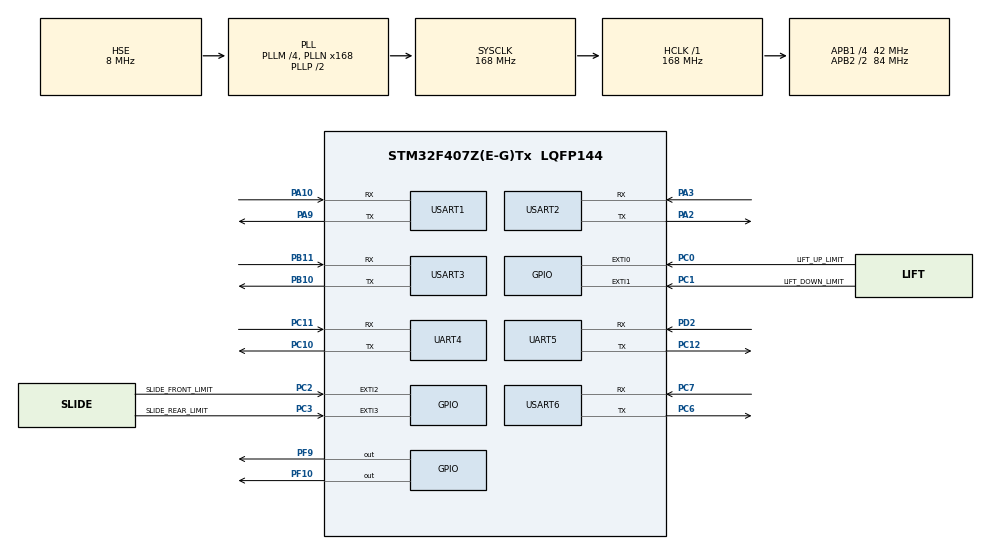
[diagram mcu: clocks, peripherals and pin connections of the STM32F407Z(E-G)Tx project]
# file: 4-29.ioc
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Dma.Request0=USART2_RX
Dma.Request1=USART3_RX
Dma.Request2=USART6_RX
Dma.Request3=USART3_TX
Dma.Request4=USART6_TX
Dma.Request5=USART1_RX
Dma.USART1_RX.5.Direction=DMA_PERIPH_TO_MEMORY
Dma.USART1_RX.5.FIFOMode=DMA_FIFOMODE_DISABLE
Dma.USART1_RX.5.Instance=DMA2_Stream2
Dma.USART1_RX.5.MemDataAlignment=DMA_MDATAALIGN_BYTE
Dma.USART1_RX.5.MemInc=DMA_MINC_ENABLE
Dma.USART1_RX.5.Mode=DMA_CIRCULAR
Dma.USART1_RX.5.PeriphDataAlignment=DMA_PDATAALIGN_BYTE
Dma.USART1_RX.5.PeriphInc=DMA_PINC_DISABLE
Dma.USART1_RX.5.Priority=DMA_PRIORITY_HIGH
Dma.USART2_RX.0.Direction=DMA_PERIPH_TO_MEMORY
Dma.USART2_RX.0.FIFOMode=DMA_FIFOMODE_DISABLE
Dma.USART2_RX.0.Instance=DMA1_Stream5
Dma.USART2_RX.0.MemDataAlignment=DMA_MDATAALIGN_BYTE
Dma.USART2_RX.0.MemInc=DMA_MINC_ENABLE
Dma.USART2_RX.0.Mode=DMA_CIRCULAR
Dma.USART2_RX.0.PeriphDataAlignment=DMA_PDATAALIGN_BYTE
Dma.USART2_RX.0.PeriphInc=DMA_PINC_DISABLE
Dma.USART2_RX.0.Priority=DMA_PRIORITY_MEDIUM
Dma.USART3_RX.1.Direction=DMA_PERIPH_TO_MEMORY
Dma.USART3_RX.1.FIFOMode=DMA_FIFOMODE_DISABLE
Dma.USART3_RX.1.Instance=DMA1_Stream1
Dma.USART3_RX.1.MemDataAlignment=DMA_MDATAALIGN_BYTE
Dma.USART3_RX.1.MemInc=DMA_MINC_ENABLE
Dma.USART3_RX.1.Mode=DMA_CIRCULAR
Dma.USART3_RX.1.PeriphDataAlignment=DMA_PDATAALIGN_BYTE
Dma.USART3_RX.1.PeriphInc=DMA_PINC_DISABLE
Dma.USART3_RX.1.Priority=DMA_PRIORITY_HIGH
Dma.USART3_TX.3.Direction=DMA_MEMORY_TO_PERIPH
Dma.USART3_TX.3.FIFOMode=DMA_FIFOMODE_DISABLE
Dma.USART3_TX.3.Instance=DMA1_Stream3
Dma.USART3_TX.3.MemDataAlignment=DMA_MDATAALIGN_BYTE
Dma.USART3_TX.3.MemInc=DMA_MINC_ENABLE
Dma.USART3_TX.3.Mode=DMA_NORMAL
Dma.USART3_TX.3.PeriphDataAlignment=DMA_PDATAALIGN_BYTE
Dma.USART3_TX.3.PeriphInc=DMA_PINC_DISABLE
Dma.USART3_TX.3.Priority=DMA_PRIORITY_HIGH
Dma.USART6_RX.2.Direction=DMA_PERIPH_TO_MEMORY
Dma.USART6_RX.2.FIFOMode=DMA_FIFOMODE_DISABLE
Dma.USART6_RX.2.Instance=DMA2_Stream1
Dma.USART6_RX.2.MemDataAlignment=DMA_MDATAALIGN_BYTE
Dma.USART6_RX.2.MemInc=DMA_MINC_ENABLE
Dma.USART6_RX.2.Mode=DMA_CIRCULAR
Dma.USART6_RX.2.PeriphDataAlignment=DMA_PDATAALIGN_BYTE
Dma.USART6_RX.2.PeriphInc=DMA_PINC_DISABLE
Dma.USART6_RX.2.Priority=DMA_PRIORITY_MEDIUM
Dma.USART6_TX.4.Direction=DMA_MEMORY_TO_PERIPH
Dma.USART6_TX.4.FIFOMode=DMA_FIFOMODE_DISABLE
Dma.USART6_TX.4.Instance=DMA2_Stream6
Dma.USART6_TX.4.MemDataAlignment=DMA_MDATAALIGN_BYTE
Dma.USART6_TX.4.MemInc=DMA_MINC_ENABLE
Dma.USART6_TX.4.Mode=DMA_NORMAL
Dma.USART6_TX.4.PeriphDataAlignment=DMA_PDATAALIGN_BYTE
Dma.USART6_TX.4.PeriphInc=DMA_PINC_DISABLE
Dma.USART6_TX.4.Priority=DMA_PRIORITY_MEDIUM
Mcu.Family=STM32F4
Mcu.Name=STM32F407Z(E-G)Tx
Mcu.Package=LQFP144
NVIC.DMA1_Stream1_IRQn=true\:1\:0\:true\:false\:true\:false\:true\:true
NVIC.DMA1_Stream3_IRQn=true\:1\:0\:true\:false\:true\:false\:true\:true
NVIC.DMA1_Stream5_IRQn=true\:3\:0\:true\:false\:true\:false\:true\:true
NVIC.DMA2_Stream1_IRQn=true\:4\:0\:true\:false\:true\:false\:true\:true
NVIC.DMA2_Stream2_IRQn=true\:5\:0\:true\:false\:true\:false\:true\:true
NVIC.DMA2_Stream6_IRQn=true\:4\:0\:true\:false\:true\:false\:true\:true
NVIC.EXTI0_IRQn=true\:2\:0\:true\:false\:true\:true\:true\:true
NVIC.EXTI1_IRQn=true\:2\:0\:true\:false\:true\:true\:true\:true
NVIC.EXTI2_IRQn=true\:2\:0\:true\:false\:true\:true\:true\:true
NVIC.EXTI3_IRQn=true\:2\:0\:true\:false\:true\:true\:true\:true
NVIC.PriorityGroup=NVIC_PRIORITYGROUP_4
NVIC.TIM6_DAC_IRQn=true\:2\:0\:true\:false\:true\:true\:true\:true
NVIC.UART4_IRQn=true\:5\:0\:true\:false\:true\:true\:true\:true
NVIC.UART5_IRQn=true\:3\:0\:true\:false\:true\:true\:true\:true
NVIC.USART1_IRQn=true\:5\:0\:true\:false\:true\:true\:true\:true
NVIC.USART2_IRQn=true\:3\:0\:true\:false\:true\:true\:true\:true
NVIC.USART3_IRQn=true\:1\:0\:true\:false\:true\:true\:true\:true
NVIC.USART6_IRQn=true\:4\:0\:true\:false\:true\:true\:true\:true
PA10.GPIO_PuPd=GPIO_PULLUP
PA10.Mode=Asynchronous
PA10.Signal=USART1_RX
PA13.Mode=Serial_Wire
PA13.Signal=SYS_JTMS-SWDIO
PA14.Mode=Serial_Wire
PA14.Signal=SYS_JTCK-SWCLK
PA2.Mode=Asynchronous
PA2.Signal=USART2_TX
PA3.Mode=Asynchronous
PA3.Signal=USART2_RX
PA9.GPIO_PuPd=GPIO_PULLUP
PA9.Mode=Asynchronous
PA9.Signal=USART1_TX
PB10.Mode=Asynchronous
PB10.Signal=USART3_TX
PB11.Mode=Asynchronous
PB11.Signal=USART3_RX
PC0.GPIO_Label=LIFT_UP_LIMIT
PC0.Signal=GPXTI0
PC1.GPIO_Label=LIFT_DOWN_LIMIT
PC1.Signal=GPXTI1
PC10.Mode=Asynchronous
PC10.Signal=UART4_TX
PC11.Mode=Asynchronous
PC11.Signal=UART4_RX
PC12.Mode=Asynchronous
PC12.Signal=UART5_TX
PC2.GPIO_Label=SLIDE_FRONT_LIMIT
PC2.Signal=GPXTI2
PC3.GPIO_Label=SLIDE_REAR_LIMIT
PC3.Signal=GPXTI3
PC6.GPIO_PuPd=GPIO_PULLUP
PC6.Mode=Asynchronous
PC6.Signal=USART6_TX
PC7.GPIO_PuPd=GPIO_PULLUP
PC7.Mode=Asynchronous
PC7.Signal=USART6_RX
PD2.Mode=Asynchronous
PD2.Signal=UART5_RX
PF10.Signal=GPIO_Output
PF9.Signal=GPIO_Output
PH0-OSC_IN.Mode=HSE-External-Oscillator
PH0-OSC_IN.Signal=RCC_OSC_IN
PH1-OSC_OUT.Mode=HSE-External-Oscillator
PH1-OSC_OUT.Signal=RCC_OSC_OUT
ProjectManager.HeapSize=0x200
ProjectManager.StackSize=0x400
ProjectManager.TargetToolchain=MDK-ARM V5.32
RCC.48MHZClocksFreq_Value=84000000
RCC.AHBFreq_Value=168000000
RCC.APB1CLKDivider=RCC_HCLK_DIV4
RCC.APB1Freq_Value=42000000
RCC.APB1TimFreq_Value=84000000
RCC.APB2CLKDivider=RCC_HCLK_DIV2
RCC.APB2Freq_Value=84000000
RCC.APB2TimFreq_Value=168000000
RCC.CortexFreq_Value=168000000
RCC.HCLKFreq_Value=168000000
RCC.HSE_VALUE=8000000
RCC.HSI_VALUE=16000000
RCC.LSE_VALUE=32768
RCC.PLLM=4
RCC.PLLN=168
RCC.PLLSourceVirtual=RCC_PLLSOURCE_HSE
RCC.SYSCLKFreq_VALUE=168000000
RCC.SYSCLKSource=RCC_SYSCLKSOURCE_PLLCLK
RCC.VCOOutputFreq_Value=336000000
TIM6.Period=9
TIM6.Prescaler=8399
UART4.VirtualMode=Asynchronous
UART5.VirtualMode=Asynchronous
USART1.VirtualMode=VM_ASYNC
USART2.VirtualMode=VM_ASYNC
USART3.VirtualMode=VM_ASYNC
USART6.VirtualMode=VM_ASYNC
VP_TIM6_VS_ClockSourceINT.Mode=Enable_Timer
board=custom

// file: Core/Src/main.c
/* USER CODE BEGIN Header */
/**
 ******************************************************************************
 * @file           : main.c
 * @brief          : Main program body
 ******************************************************************************
 * @attention
 *
 * Copyright (c) 2026 STMicroelectronics.
 * All rights reserved.
 *
 * This software is licensed under terms that can be found in the LICENSE file
 * in the root directory of this software component.
 * If no LICENSE file comes with this software, it is provided AS-IS.
 *
 ******************************************************************************
 */
/* USER CODE END Header */
#include "main.h"

/* USER CODE BEGIN Includes */
#include <stdio.h>
#include "drive_bus_servo.h"
#include "sensor_ops.h"
#include "sensor_wit.h"
#include "drive_emm.h"
#include "advance_chassis.h"
#include "advance_motion.h"
#include "advance_world.h"
#include "advance_arm.h"
#include "comm_host.h"
#include "comm_protocol.h"
#include "car_pose.h"

/* USER CODE END Includes */

/* USER CODE BEGIN PD */
/* 发布固件保持 0，避免 printf 的逐字节阻塞影响控制周期。 */
#define DEBUG_UART_ENABLE (1U)

/* TIM6 提供 1 ms 调度节拍，所有业务周期统一在这里配置。 */
#define APP_SCHEDULER_TICK_MS ((uint32_t)1U)
#define APP_PROTOCOL_PERIOD_MS ((uint32_t)2U)
#define APP_WORLD_PERIOD_MS ((uint32_t)10U)
#define APP_MOTION_PERIOD_MS ADVANCE_MOTION_CONTROL_PERIOD_MS
#define APP_MOTOR_PERIOD_MS ((uint32_t)20U)
#define APP_ORIGIN_PERIOD_MS ((uint32_t)1000U)
#define APP_LED_PERIOD_MS ((uint32_t)500U)

/* TIM6 仅置位这些任务，不在中断上下文执行业务逻辑。 */
#define APP_TASK_PROTOCOL ((uint32_t)0x00000001U)
#define APP_TASK_WORLD ((uint32_t)0x00000002U)
#define APP_TASK_MOTION ((uint32_t)0x00000008U)
#define APP_TASK_MOTOR ((uint32_t)0x00000010U)
#define APP_TASK_ORIGIN ((uint32_t)0x00000020U)
#define APP_TASK_LED ((uint32_t)0x00000040U)

/* USER CODE END PD */

TIM_HandleTypeDef htim6;

UART_HandleTypeDef huart4;
UART_HandleTypeDef huart5;
UART_HandleTypeDef huart1;
UART_HandleTypeDef huart2;
UART_HandleTypeDef huart3;
UART_HandleTypeDef huart6;
DMA_HandleTypeDef hdma_usart1_rx;
DMA_HandleTypeDef hdma_usart2_rx;
DMA_HandleTypeDef hdma_usart3_rx;
DMA_HandleTypeDef hdma_usart3_tx;
DMA_HandleTypeDef hdma_usart6_rx;
DMA_HandleTypeDef hdma_usart6_tx;

/* USER CODE BEGIN PV */
static volatile uint32_t g_app_pending_tasks = 0U;
/* USER CODE END PV */

void SystemClock_Config(void);
static void MX_GPIO_Init(void);
static void MX_DMA_Init(void);
static void MX_UART4_Init(void);
static void MX_UART5_Init(void);
static void MX_USART1_UART_Init(void);
static void MX_USART2_UART_Init(void);
static void MX_USART3_UART_Init(void);
static void MX_USART6_UART_Init(void);
static void MX_TIM6_Init(void);

/* USER CODE BEGIN 0 */
int fputc(int ch, FILE *f)
{
  (void)f;
#if (DEBUG_UART_ENABLE != 0U)
  uint8_t byte = (uint8_t)ch;
  (void)HAL_UART_Transmit(&huart1, &byte, 1, 20U);
#else
  (void)ch;
#endif
  return ch;
}

static void App_ToggleLed(void)
{
  HAL_GPIO_TogglePin(GPIOF, GPIO_PIN_9 | GPIO_PIN_10);
}

static uint32_t App_TakePendingTasks(void)
{
  uint32_t pending;

  __disable_irq();
  pending = g_app_pending_tasks;
  g_app_pending_tasks = 0U;
  __enable_irq();
  return pending;
}

static void App_TryResetWorldOrigin(void)
{
  WorldPose2D_t pose = {0};

  (void)AdvanceWorld_GetPoseCopy(&pose);
  if (pose.origin_ready == 0U)
  {
    (void)AdvanceWorld_ResetOrigin();
  }
}

static void App_RunScheduledTasks(uint32_t pending)
{
  if ((pending & APP_TASK_PROTOCOL) != 0U)
  {
    HostComm_Poll();
  }

  if ((pending & APP_TASK_WORLD) != 0U)
  {
    OPS_Poll();
    WIT_Poll();
    AdvanceWorld_Poll();
  }

  if ((pending & APP_TASK_MOTOR) != 0U)
  {
    drive_emm_Poll();
    BusServo_Poll();
  }

  if ((pending & APP_TASK_ORIGIN) != 0U)
  {
    App_TryResetWorldOrigin();
  }

  if ((pending & APP_TASK_MOTION) != 0U)
  {
    AdvanceMotion_Poll();
  }

  if ((pending & APP_TASK_LED) != 0U)
  {
    App_ToggleLed();
  }
}

/* USER CODE END 0 */

int main(void)
{

  /* MCU Configuration--------------------------------------------------------*/

  /* Reset of all peripherals, Initializes the Flash interface and the Systick. */
  HAL_Init();

  /* USER CODE BEGIN Init */
  // 提前初始化 GPIO，确认程序是否启动
  __HAL_RCC_GPIOA_CLK_ENABLE();
  __HAL_RCC_GPIOF_CLK_ENABLE();
  __HAL_RCC_GPIOC_CLK_ENABLE();
  GPIO_InitTypeDef GPIO_InitStructInit = {0};

  // 1. 针对你这款蓝色 M144Z-M4 板子，尝试常见的 PA0(LED)
  GPIO_InitStructInit.Pin = GPIO_PIN_0;
  GPIO_InitStructInit.Mode = GPIO_MODE_OUTPUT_PP;
  GPIO_InitStructInit.Pull = GPIO_NOPULL;
  GPIO_InitStructInit.Speed = GPIO_SPEED_FREQ_LOW;
  HAL_GPIO_Init(GPIOA, &GPIO_InitStructInit);

  // 2. 同时保留之前的 PF9/PF10 和 PC13
  GPIO_InitStructInit.Pin = GPIO_PIN_9 | GPIO_PIN_10;
  HAL_GPIO_Init(GPIOF, &GPIO_InitStructInit);

  GPIO_InitStructInit.Pin = GPIO_PIN_13;
  HAL_GPIO_Init(GPIOC, &GPIO_InitStructInit);

  // 全量闪烁测试
  for (int i = 0; i < 20; i++)
  {
    HAL_GPIO_TogglePin(GPIOA, GPIO_PIN_0);
    HAL_GPIO_TogglePin(GPIOF, GPIO_PIN_9 | GPIO_PIN_10);
    HAL_GPIO_TogglePin(GPIOC, GPIO_PIN_13);
    for(volatile int j=0; j<300000; j++); // 缩短延时，亮暗更明显
  }
  /* USER CODE END Init */

  /* Configure the system clock */
  SystemClock_Config();

  /* Initialize all configured peripherals */
  MX_GPIO_Init();
  MX_DMA_Init();
  MX_UART4_Init();
  MX_UART5_Init();
  MX_USART1_UART_Init();
  MX_USART2_UART_Init();
  MX_USART3_UART_Init();
  MX_USART6_UART_Init();
  MX_TIM6_Init();
  /* USER CODE BEGIN 2 */

  // 传感器初始化
  OPS_Init(&huart5);
  WIT_Init();

  /* 上层模块先绑定传感器数据视图，再初始化自身状态。 */
  CarPose_Init();
  AdvanceWorld_Init();
  AdvanceMotion_Init();
  if (drive_emm_Init() != HAL_OK)
  {
    Error_Handler();
  }
  drive_emm_ConfigureChassisFeedback(
      CHASSIS_MOTOR_LF_ID,
      CHASSIS_MOTOR_RF_ID,
      CHASSIS_MOTOR_LR_ID,
      CHASSIS_MOTOR_RR_ID);
  AdvanceArm_Init();

  // 外设初始化
  BusServo_Init(&huart4);

  // 通信初始化
  if (HostComm_InitChannel(HOST_SOURCE_PC, &huart1) != HOST_COMM_STATUS_OK)
  {
    printf("HostComm PC init failed\r\n");
  }

  if (HostComm_InitChannel(HOST_SOURCE_JETSON, &huart6) != HOST_COMM_STATUS_OK)
  {
    printf("HostComm Jetson init failed\r\n");
  }

  /* 原点建立由 1 s 调度任务重试，不阻塞等待 OPS 数据。 */
  if (HAL_TIM_Base_Start_IT(&htim6) != HAL_OK)
  {
    Error_Handler();
  }

  // 1. 初始化电机驱动底层 (开启 DMA 接收等)
  // 2. 启动后立即闪烁 3 次作为“板子活了”的信号
  for (int i = 0; i < 6; i++)
  {
    App_ToggleLed();
    HAL_Delay(100);
  }

  /* USER CODE END 2 */

  /* Infinite loop */
  while (1)
  {

    /* USER CODE BEGIN 3 */
    uint32_t pending = App_TakePendingTasks();
    if (pending == 0U)
    {
      __WFI();
    }
    else
    {
      App_RunScheduledTasks(pending);
    }
  }
  /* USER CODE END 3 */
}

void SystemClock_Config(void)
{
  RCC_OscInitTypeDef RCC_OscInitStruct = {0};
  RCC_ClkInitTypeDef RCC_ClkInitStruct = {0};

  /** Configure the main internal regulator output voltage
  */
  __HAL_RCC_PWR_CLK_ENABLE();
  __HAL_PWR_VOLTAGESCALING_CONFIG(PWR_REGULATOR_VOLTAGE_SCALE1);

  /** Initializes the RCC Oscillators according to the specified parameters
  * in the RCC_OscInitTypeDef structure.
  */
  RCC_OscInitStruct.OscillatorType = RCC_OSCILLATORTYPE_HSE;
  RCC_OscInitStruct.HSEState = RCC_HSE_ON;
  RCC_OscInitStruct.PLL.PLLState = RCC_PLL_ON;
  RCC_OscInitStruct.PLL.PLLSource = RCC_PLLSOURCE_HSE;
  RCC_OscInitStruct.PLL.PLLM = 4;
  RCC_OscInitStruct.PLL.PLLN = 168;
  RCC_OscInitStruct.PLL.PLLP = RCC_PLLP_DIV2;
  RCC_OscInitStruct.PLL.PLLQ = 4;
  if (HAL_RCC_OscConfig(&RCC_OscInitStruct) != HAL_OK)
  {
    Error_Handler();
  }

  /** Initializes the CPU, AHB and APB buses clocks
  */
  RCC_ClkInitStruct.ClockType = RCC_CLOCKTYPE_HCLK|RCC_CLOCKTYPE_SYSCLK
                              |RCC_CLOCKTYPE_PCLK1|RCC_CLOCKTYPE_PCLK2;
  RCC_ClkInitStruct.SYSCLKSource = RCC_SYSCLKSOURCE_PLLCLK;
  RCC_ClkInitStruct.AHBCLKDivider = RCC_SYSCLK_DIV1;
  RCC_ClkInitStruct.APB1CLKDivider = RCC_HCLK_DIV4;
  RCC_ClkInitStruct.APB2CLKDivider = RCC_HCLK_DIV2;

  if (HAL_RCC_ClockConfig(&RCC_ClkInitStruct, FLASH_LATENCY_5) != HAL_OK)
  {
    Error_Handler();
  }
}

static void MX_TIM6_Init(void)
{

  TIM_MasterConfigTypeDef sMasterConfig = {0};

  htim6.Instance = TIM6;
  htim6.Init.Prescaler = 8399;
  htim6.Init.CounterMode = TIM_COUNTERMODE_UP;
  htim6.Init.Period = 9;
  htim6.Init.AutoReloadPreload = TIM_AUTORELOAD_PRELOAD_DISABLE;
  if (HAL_TIM_Base_Init(&htim6) != HAL_OK)
  {
    Error_Handler();
  }
  sMasterConfig.MasterOutputTrigger = TIM_TRGO_RESET;
  sMasterConfig.MasterSlaveMode = TIM_MASTERSLAVEMODE_DISABLE;
  if (HAL_TIMEx_MasterConfigSynchronization(&htim6, &sMasterConfig) != HAL_OK)
  {
    Error_Handler();
  }

}

static void MX_UART4_Init(void)
{

  huart4.Instance = UART4;
  huart4.Init.BaudRate = 115200;
  huart4.Init.WordLength = UART_WORDLENGTH_8B;
  huart4.Init.StopBits = UART_STOPBITS_1;
  huart4.Init.Parity = UART_PARITY_NONE;
  huart4.Init.Mode = UART_MODE_TX_RX;
  huart4.Init.HwFlowCtl = UART_HWCONTROL_NONE;
  huart4.Init.OverSampling = UART_OVERSAMPLING_16;
  if (HAL_UART_Init(&huart4) != HAL_OK)
  {
    Error_Handler();
  }

}

static void MX_UART5_Init(void)
{

  huart5.Instance = UART5;
  huart5.Init.BaudRate = 115200;
  huart5.Init.WordLength = UART_WORDLENGTH_8B;
  huart5.Init.StopBits = UART_STOPBITS_1;
  huart5.Init.Parity = UART_PARITY_NONE;
  huart5.Init.Mode = UART_MODE_TX_RX;
  huart5.Init.HwFlowCtl = UART_HWCONTROL_NONE;
  huart5.Init.OverSampling = UART_OVERSAMPLING_16;
  if (HAL_UART_Init(&huart5) != HAL_OK)
  {
    Error_Handler();
  }

}

static void MX_USART1_UART_Init(void)
{

  huart1.Instance = USART1;
  huart1.Init.BaudRate = 115200;
  huart1.Init.WordLength = UART_WORDLENGTH_8B;
  huart1.Init.StopBits = UART_STOPBITS_1;
  huart1.Init.Parity = UART_PARITY_NONE;
  huart1.Init.Mode = UART_MODE_TX_RX;
  huart1.Init.HwFlowCtl = UART_HWCONTROL_NONE;
  huart1.Init.OverSampling = UART_OVERSAMPLING_16;
  if (HAL_UART_Init(&huart1) != HAL_OK)
  {
    Error_Handler();
  }

}

static void MX_USART2_UART_Init(void)
{

  huart2.Instance = USART2;
  huart2.Init.BaudRate = 115200;
  huart2.Init.WordLength = UART_WORDLENGTH_8B;
  huart2.Init.StopBits = UART_STOPBITS_1;
  huart2.Init.Parity = UART_PARITY_NONE;
  huart2.Init.Mode = UART_MODE_TX_RX;
  huart2.Init.HwFlowCtl = UART_HWCONTROL_NONE;
  huart2.Init.OverSampling = UART_OVERSAMPLING_16;
  if (HAL_UART_Init(&huart2) != HAL_OK)
  {
    Error_Handler();
  }

}

static void MX_USART3_UART_Init(void)
{

  huart3.Instance = USART3;
  huart3.Init.BaudRate = 115200;
  huart3.Init.WordLength = UART_WORDLENGTH_8B;
  huart3.Init.StopBits = UART_STOPBITS_1;
  huart3.Init.Parity = UART_PARITY_NONE;
  huart3.Init.Mode = UART_MODE_TX_RX;
  huart3.Init.HwFlowCtl = UART_HWCONTROL_NONE;
  huart3.Init.OverSampling = UART_OVERSAMPLING_16;
  if (HAL_UART_Init(&huart3) != HAL_OK)
  {
    Error_Handler();
  }

}

static void MX_USART6_UART_Init(void)
{

  huart6.Instance = USART6;
  huart6.Init.BaudRate = 115200;
  huart6.Init.WordLength = UART_WORDLENGTH_8B;
  huart6.Init.StopBits = UART_STOPBITS_1;
  huart6.Init.Parity = UART_PARITY_NONE;
  huart6.Init.Mode = UART_MODE_TX_RX;
  huart6.Init.HwFlowCtl = UART_HWCONTROL_NONE;
  huart6.Init.OverSampling = UART_OVERSAMPLING_16;
  if (HAL_UART_Init(&huart6) != HAL_OK)
  {
    Error_Handler();
  }

}

static void MX_DMA_Init(void)
{

  /* DMA controller clock enable */
  __HAL_RCC_DMA1_CLK_ENABLE();
  __HAL_RCC_DMA2_CLK_ENABLE();

  /* DMA interrupt init */
  /* DMA1_Stream1_IRQn interrupt configuration */
  HAL_NVIC_SetPriority(DMA1_Stream1_IRQn, 1, 0);
  HAL_NVIC_EnableIRQ(DMA1_Stream1_IRQn);
  /* DMA1_Stream3_IRQn interrupt configuration */
  HAL_NVIC_SetPriority(DMA1_Stream3_IRQn, 1, 0);
  HAL_NVIC_EnableIRQ(DMA1_Stream3_IRQn);
  /* DMA1_Stream5_IRQn interrupt configuration */
  HAL_NVIC_SetPriority(DMA1_Stream5_IRQn, 3, 0);
  HAL_NVIC_EnableIRQ(DMA1_Stream5_IRQn);
  /* DMA2_Stream1_IRQn interrupt configuration */
  HAL_NVIC_SetPriority(DMA2_Stream1_IRQn, 4, 0);
  HAL_NVIC_EnableIRQ(DMA2_Stream1_IRQn);
  /* DMA2_Stream2_IRQn interrupt configuration */
  HAL_NVIC_SetPriority(DMA2_Stream2_IRQn, 5, 0);
  HAL_NVIC_EnableIRQ(DMA2_Stream2_IRQn);
  /* DMA2_Stream6_IRQn interrupt configuration */
  HAL_NVIC_SetPriority(DMA2_Stream6_IRQn, 4, 0);
  HAL_NVIC_EnableIRQ(DMA2_Stream6_IRQn);

}

static void MX_GPIO_Init(void)
{
  GPIO_InitTypeDef GPIO_InitStruct = {0};

  /* GPIO Ports Clock Enable */
  __HAL_RCC_GPIOF_CLK_ENABLE();
  __HAL_RCC_GPIOH_CLK_ENABLE();
  __HAL_RCC_GPIOC_CLK_ENABLE();
  __HAL_RCC_GPIOA_CLK_ENABLE();
  __HAL_RCC_GPIOB_CLK_ENABLE();
  __HAL_RCC_GPIOD_CLK_ENABLE();

  /*Configure GPIO pin Output Level */
  HAL_GPIO_WritePin(GPIOF, GPIO_PIN_9|GPIO_PIN_10, GPIO_PIN_RESET);

  /*Configure GPIO pins : PF9 PF10 */
  GPIO_InitStruct.Pin = GPIO_PIN_9|GPIO_PIN_10;
  GPIO_InitStruct.Mode = GPIO_MODE_OUTPUT_PP;
  GPIO_InitStruct.Pull = GPIO_NOPULL;
  GPIO_InitStruct.Speed = GPIO_SPEED_FREQ_LOW;
  HAL_GPIO_Init(GPIOF, &GPIO_InitStruct);

  /*Configure GPIO pins : LIFT_UP_LIMIT_Pin LIFT_DOWN_LIMIT_Pin SLIDE_FRONT_LIMIT_Pin SLIDE_REAR_LIMIT_Pin */
  GPIO_InitStruct.Pin = LIFT_UP_LIMIT_Pin|LIFT_DOWN_LIMIT_Pin|SLIDE_FRONT_LIMIT_Pin|SLIDE_REAR_LIMIT_Pin;
  GPIO_InitStruct.Mode = GPIO_MODE_IT_RISING;
  GPIO_InitStruct.Pull = GPIO_NOPULL;
  HAL_GPIO_Init(GPIOC, &GPIO_InitStruct);

  /* EXTI interrupt init*/
  HAL_NVIC_SetPriority(EXTI0_IRQn, 2, 0);
  HAL_NVIC_EnableIRQ(EXTI0_IRQn);

  HAL_NVIC_SetPriority(EXTI1_IRQn, 2, 0);
  HAL_NVIC_EnableIRQ(EXTI1_IRQn);

  HAL_NVIC_SetPriority(EXTI2_IRQn, 2, 0);
  HAL_NVIC_EnableIRQ(EXTI2_IRQn);

  HAL_NVIC_SetPriority(EXTI3_IRQn, 2, 0);
  HAL_NVIC_EnableIRQ(EXTI3_IRQn);

}

/* USER CODE BEGIN 4 */

void HAL_UART_RxCpltCallback(UART_HandleTypeDef *huart)
{
  if (huart->Instance == UART4)
  {
    BusServo_OnByteReceived();
  }

  if (huart->Instance == UART5)
  {
    OPS_OnByteReceived();
  }
}

void HAL_UARTEx_RxEventCallback(UART_HandleTypeDef *huart, uint16_t Size)
{
  if (huart->Instance == USART2)
  {
    WIT_OnUartRxEvent(huart, Size);
  }

  if (huart->Instance == USART3)
  {
    drive_emm_OnUartRxEvent(huart, Size);
  }

  if (huart->Instance == USART1)
  {
    HostComm_OnUartRxEvent(huart, Size);
  }

  if (huart->Instance == USART6)
  {
    HostComm_OnUartRxEvent(huart, Size);
  }
}

void HAL_UART_TxCpltCallback(UART_HandleTypeDef *huart)
{
  if (huart->Instance == USART3)
  {
    drive_emm_OnTxComplete(huart);
  }

  if ((huart->Instance == USART1) || (huart->Instance == USART6))
  {
    HostProtocol_OnUartTxComplete(huart);
  }
}

void HAL_UART_ErrorCallback(UART_HandleTypeDef *huart)
{
  if (huart->Instance == USART3)
  {
    drive_emm_OnUartError(huart);
  }

  if ((huart->Instance == USART1) || (huart->Instance == USART6))
  {
    HostProtocol_OnUartError(huart);
  }

  if (huart->Instance == UART4)
  {
    BusServo_OnUartError();
  }

  if (huart->Instance == UART5)
  {
    OPS_OnUartError();
  }

  if (huart->Instance == USART2)
  {
    WIT_OnUartError(huart);
  }

  if (huart->Instance == USART6)
  {
    HostComm_OnUartError(huart);
  }

  if (huart->Instance == USART1)
  {
    HostComm_OnUartError(huart);
  }
}

void HAL_TIM_PeriodElapsedCallback(TIM_HandleTypeDef *htim)
{
  static uint16_t protocol_tick = 0U;
  static uint16_t world_tick = 0U;
  static uint16_t motion_tick = 0U;
  static uint16_t motor_tick = 0U;
  static uint16_t origin_tick = 0U;
  static uint16_t led_tick = 0U;

  if (htim->Instance != TIM6)
  {
    return;
  }

  if (++protocol_tick >= (APP_PROTOCOL_PERIOD_MS / APP_SCHEDULER_TICK_MS))
  {
    protocol_tick = 0U;
    g_app_pending_tasks |= APP_TASK_PROTOCOL;
  }
  if (++world_tick >= (APP_WORLD_PERIOD_MS / APP_SCHEDULER_TICK_MS))
  {
    world_tick = 0U;
    g_app_pending_tasks |= APP_TASK_WORLD;
  }
  if (++motion_tick >= (APP_MOTION_PERIOD_MS / APP_SCHEDULER_TICK_MS))
  {
    motion_tick = 0U;
    g_app_pending_tasks |= APP_TASK_MOTION;
  }
  if (++motor_tick >= (APP_MOTOR_PERIOD_MS / APP_SCHEDULER_TICK_MS))
  {
    motor_tick = 0U;
    g_app_pending_tasks |= APP_TASK_MOTOR;
  }
  if (++origin_tick >= (APP_ORIGIN_PERIOD_MS / APP_SCHEDULER_TICK_MS))
  {
    origin_tick = 0U;
    g_app_pending_tasks |= APP_TASK_ORIGIN;
  }
  if (++led_tick >= (APP_LED_PERIOD_MS / APP_SCHEDULER_TICK_MS))
  {
    led_tick = 0U;
    g_app_pending_tasks |= APP_TASK_LED;
  }
}

/* USER CODE END 4 */

void Error_Handler(void)
{
  __disable_irq();
  while (1)
  {
  }
}
